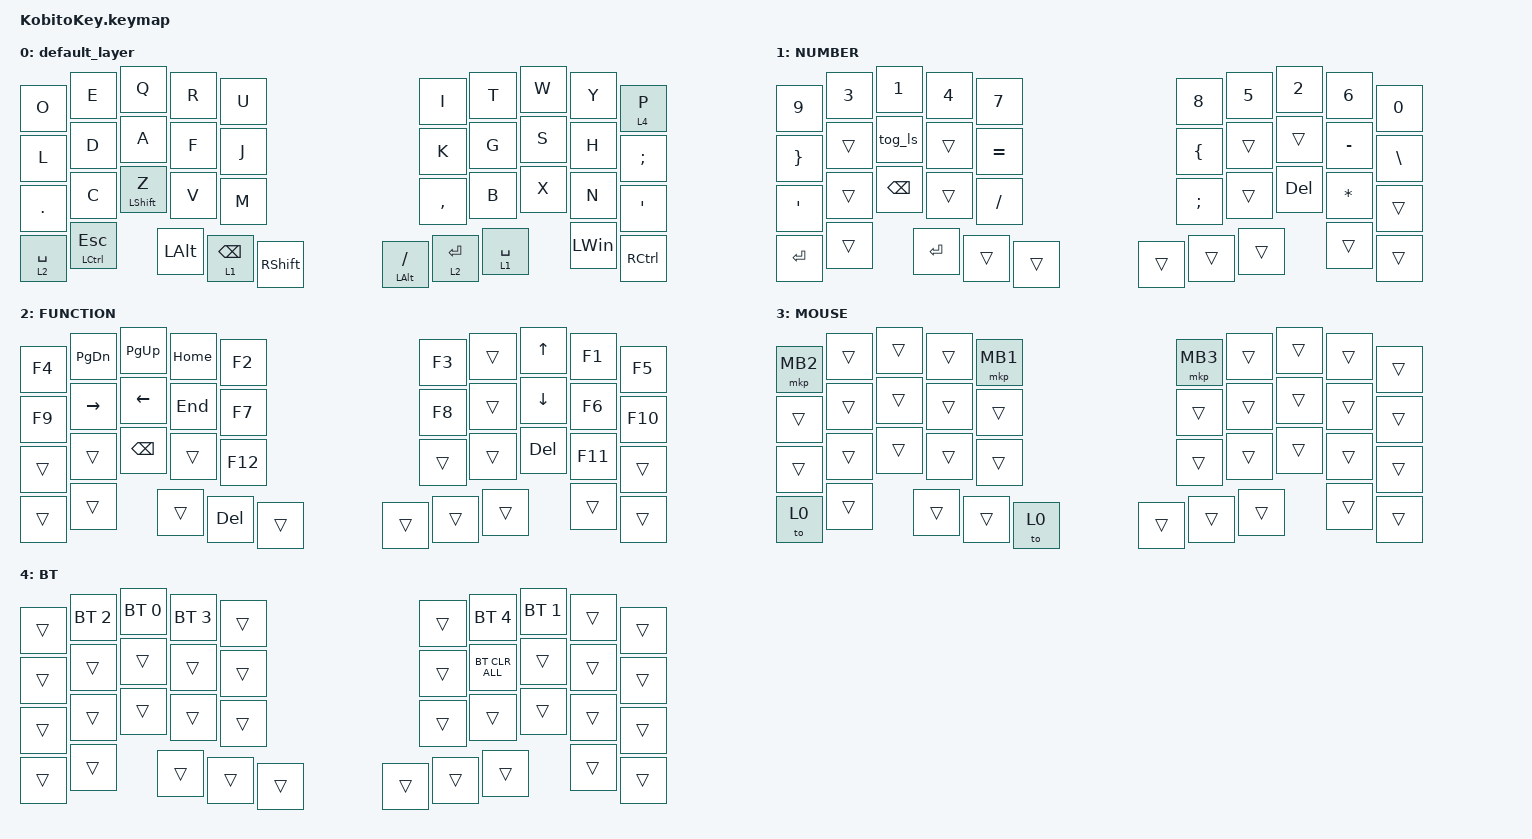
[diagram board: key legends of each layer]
#include <input/processors.dtsi>
#include <behaviors.dtsi>
#include <dt-bindings/zmk/bt.h>
#include <dt-bindings/zmk/keys.h>
#include <dt-bindings/zmk/pointing.h>
#include "layout_shift.dtsi"

/ {
    behaviors {
        // Keep the original key_press behavior for ZMK core components

        original_key_press: original_key_press {
            compatible = "zmk,behavior-key-press";
            #binding-cells = <1>;
            label = "KEY_PRESS";
        };

        // Override the existing &kp behavior to use our custom implementation

        kp: key_press {
            compatible = "zmk,behavior-layout-shift-key-press";
            #binding-cells = <1>;
            label = "LAYOUT_SHIFT_KEY_PRESS";
        };
    };
};

/ {
    combos {
        compatible = "zmk,combos";

        combo_eisu {
            timeout-ms = <50>;
            key-positions = <12 13>;
            bindings = <&kp LANG2>;
        };

        combo_kana {
            timeout-ms = <50>;
            key-positions = <16 17>;
            bindings = <&kp LANG1>;
        };

        combo_esc {
            timeout-ms = <50>;
            key-positions = <0 1>;
            bindings = <&kp ESC>;
        };

        combo_tab {
            timeout-ms = <50>;
            key-positions = <10 11>;
            bindings = <&kp TAB>;
        };
    };

    keymap {
        compatible = "zmk,keymap";

        default_layer {
            bindings = <
&kp Q             &kp W     &kp E  &kp R     &kp T                                      &kp Y        &kp U      &kp I      &kp O      &lt 4 P
&kp A             &kp S     &kp D  &kp F     &kp G                                      &kp H        &kp J      &kp K      &kp L      &kp SEMI
&mt LEFT_SHIFT Z  &kp X     &kp C  &kp V     &kp B                                      &kp N        &kp M      &kp COMMA  &kp DOT    &kp APOS
&mt LCTRL ESCAPE  &kp LWIN         &kp LALT  &lt 1 SPACE  &lt 2 SPACE  &lt 1 BACKSPACE  &lt 2 ENTER  &kp RCTRL             &kp RSHFT  &mt LALT SLASH
            >;
        };

        NUM {
            label = "NUMBER";
            bindings = <
&kp N1         &kp N2   &kp N3  &kp N4     &kp N5                     &kp N6     &kp N7     &kp N8    &kp N9    &kp N0
&tog_ls        &trans   &trans  &trans     &trans                     &kp MINUS  &kp EQUAL  &kp LBRC  &kp RBRC  &kp BACKSLASH
&kp BACKSPACE  &kp DEL  &trans  &trans     &trans                     &kp ASTRK  &kp SLASH  &kp SEMI  &kp SQT   &trans
&trans         &trans           &kp ENTER  &trans  &kp ENTER  &trans  &trans     &trans               &trans    &trans
            >;
        };

        FUNC {
            label = "FUNCTION";
            bindings = <
&kp PG_UP      &kp UP    &kp PAGE_DOWN  &kp HOME  &trans                   &kp F1   &kp F2   &kp F3  &kp F4  &kp F5
&kp LEFT       &kp DOWN  &kp RIGHT      &kp END   &trans                   &kp F6   &kp F7   &kp F8  &kp F9  &kp F10
&kp BACKSPACE  &kp DEL   &trans         &trans    &trans                   &kp F11  &kp F12  &trans  &trans  &trans
&trans         &trans                   &trans    &trans  &trans  &kp DEL  &trans   &trans           &trans  &trans
            >;
        };

        MOUSE {
            label = "MOUSE";
            bindings = <
&trans  &trans  &trans  &trans  &trans                 &trans  &mkp MB1  &mkp MB3  &mkp MB2  &trans
&trans  &trans  &trans  &trans  &trans                 &trans  &trans    &trans    &trans    &trans
&trans  &trans  &trans  &trans  &trans                 &trans  &trans    &trans    &trans    &trans
&trans  &trans          &trans  &trans  &to 0  &trans  &trans  &trans              &to 0     &trans
            >;
        };

        BT {
            label = "BT";
            bindings = <
&bt BT_SEL 0  &bt BT_SEL 1  &bt BT_SEL 2  &bt BT_SEL 3  &bt BT_SEL 4                    &trans  &trans  &trans  &trans  &trans
&trans        &trans        &trans        &trans        &bt BT_CLR_ALL                  &trans  &trans  &trans  &trans  &trans
&trans        &trans        &trans        &trans        &trans                          &trans  &trans  &trans  &trans  &trans
&trans        &trans                      &trans        &trans          &trans  &trans  &trans  &trans          &trans  &trans
            >;
        };
    };
};
